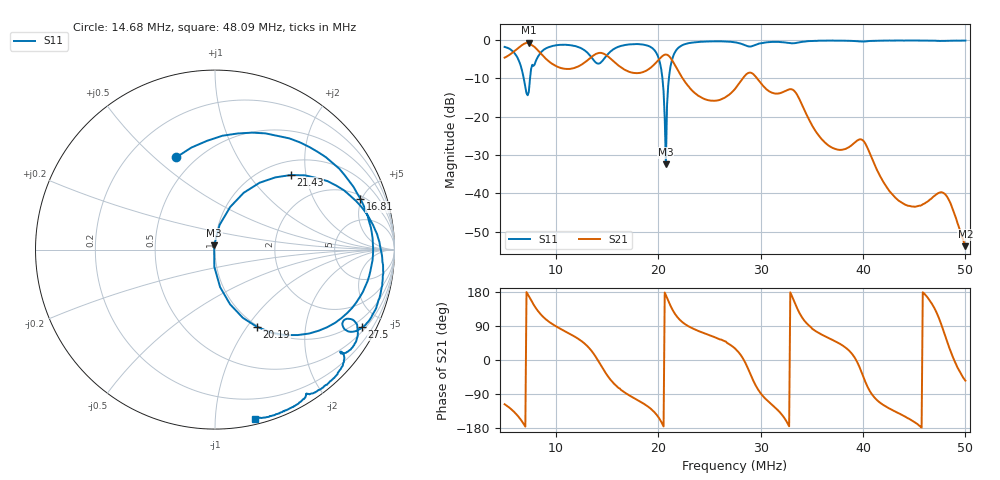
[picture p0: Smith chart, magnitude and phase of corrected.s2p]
! S11/S21 only; reverse parameters are placeholders. Device calibration unverified.
! [Saver CAL applied] C:\Users\aknya\MyProjects\rf-simulator\calibration2.cal | Ideal standards assumed | Input: NanoVNA F V2 profile | COM3 | 2026-09-08T11:10:58.2361311-04:00 | device calibration unverified
# HZ S RI R 50
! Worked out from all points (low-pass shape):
!   401 points, 5 MHz to 50 MHz, reference 50 ohm
!   highest |S21| = -0.73 dB at 7.362 MHz (marker M1); lowest = -53.8 dB at 50 MHz (marker M2)
!   |S21| within 3 dB of the highest: 5.574 MHz to 8.587 MHz (3.012 MHz wide, 42.5 % of centre); 13.88 MHz to 14.76 MHz (873.6 kHz wide, 6.1 % of centre)
!   lowest |S11| = -32.4 dB at 20.75 MHz (marker M3), VSWR 1.05, Z = 49.5 + j2.32 ohm
!   |S11| at or under -10 dB: 6.863 MHz to 7.486 MHz (622.8 kHz wide, 8.68 % of centre); 20.41 MHz to 21.05 MHz (637.6 kHz wide, 3.08 % of centre)
!   S12 and S22 are empty: the file has one direction only
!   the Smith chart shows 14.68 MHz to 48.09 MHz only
!   S11 on the Smith chart (normalised r, x): 14.68 MHz: 0.40, +0.59; 16.81 MHz: 2.27, +4.87; 20.19 MHz: 0.98, -1.11; 21.43 MHz: 1.28, +1.64; 27.5 MHz: 0.64, -3.94; 48.09 MHz: 0.04, -1.27
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5000000  0.7424 -0.3186  -0.2631 -0.5231  0 0  0 0
7362500  0.2084 0.0203  -0.9022 0.1777  0 0  0 0
8262500  0.5819 0.1644  -0.4577 0.5632  0 0  0 0
9837500  0.8159 -0.2027  -0.015 0.4695  0 0  0 0
1.25375e7  0.2273 -0.7348  0.3109 0.3618  0 0  0 0
1.38875e7  -0.4815 -0.1621  0.6436 0.1011  0 0  0 0
1.4675e7  -0.2145 0.515  0.5925 -0.2907  0 0  0 0
1.68125e7  0.81 0.283  0.0194 -0.4014  0 0  0 0
1.88375e7  0.8066 -0.2645  -0.1963 -0.3442  0 0  0 0
2.0075e7  0.3142 -0.4626  -0.4946 -0.2509  0 0  0 0
2.01875e7  0.2332 -0.43  -0.5333 -0.2162  0 0  0 0
2.075e7  -0.00485 0.0234  -0.6356 0.1009  0 0  0 0
2.1425e7  0.4215 0.4153  -0.3451 0.3944  0 0  0 0
2.31125e7  0.9094 0.0632  0.013 0.2326  0 0  0 0
2.75e7  0.8196 -0.4328  0.1973 0.116  0 0  0 0
2.9525e7  0.7683 -0.3912  0.1269 -0.305  0 0  0 0
3.27875e7  0.7021 -0.5792  -0.2252 -0.0197  0 0  0 0
3.50375e7  0.7006 -0.6651  0.00984 0.0755  0 0  0 0
3.99875e7  0.5115 -0.8026  0.0368 -0.0323  0 0  0 0
4.2575e7  0.4361 -0.877  -0.00659 -0.00841  0 0  0 0
4.80875e7  0.2254 -0.944  0.00487 0.00814  0 0  0 0
5e7  0.1595 -0.9644  0.00118 -0.00166  0 0  0 0
